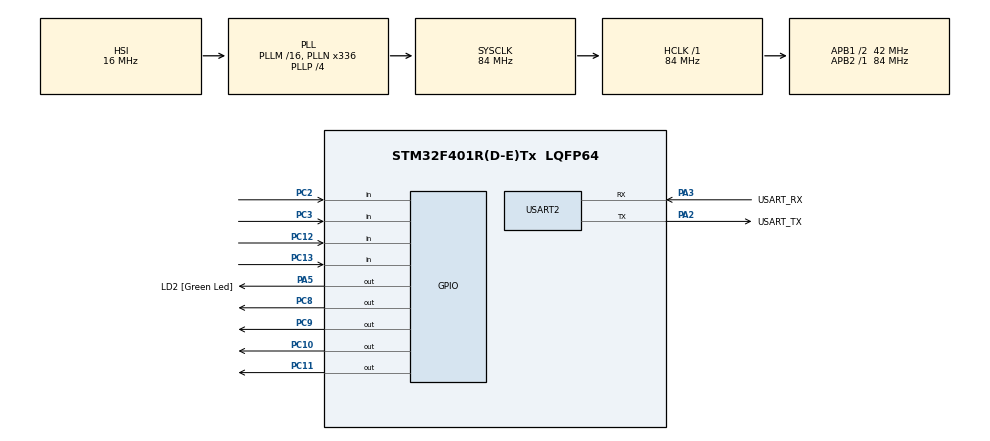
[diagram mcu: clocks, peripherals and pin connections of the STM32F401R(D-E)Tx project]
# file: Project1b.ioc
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Dma.Request0=USART2_TX
Dma.USART2_TX.0.Direction=DMA_MEMORY_TO_PERIPH
Dma.USART2_TX.0.FIFOMode=DMA_FIFOMODE_DISABLE
Dma.USART2_TX.0.Instance=DMA1_Stream6
Dma.USART2_TX.0.MemDataAlignment=DMA_MDATAALIGN_BYTE
Dma.USART2_TX.0.MemInc=DMA_MINC_ENABLE
Dma.USART2_TX.0.Mode=DMA_NORMAL
Dma.USART2_TX.0.PeriphDataAlignment=DMA_PDATAALIGN_BYTE
Dma.USART2_TX.0.PeriphInc=DMA_PINC_DISABLE
Dma.USART2_TX.0.Priority=DMA_PRIORITY_LOW
Mcu.Family=STM32F4
Mcu.Name=STM32F401R(D-E)Tx
Mcu.Package=LQFP64
NVIC.DMA1_Stream6_IRQn=true\:0\:0\:false\:false\:true\:false\:true\:true
NVIC.PriorityGroup=NVIC_PRIORITYGROUP_0
NVIC.TIM2_IRQn=true\:0\:0\:false\:false\:true\:true\:true\:true
NVIC.USART2_IRQn=true\:0\:0\:false\:false\:true\:true\:true\:true
PA13.GPIO_Label=TMS
PA13.Mode=Serial_Wire
PA13.Signal=SYS_JTMS-SWDIO
PA14.GPIO_Label=TCK
PA14.Mode=Serial_Wire
PA14.Signal=SYS_JTCK-SWCLK
PA2.GPIO_Label=USART_TX
PA2.GPIO_Mode=GPIO_MODE_AF_PP
PA2.GPIO_PuPd=GPIO_NOPULL
PA2.GPIO_Speed=GPIO_SPEED_FREQ_LOW
PA2.Mode=Asynchronous
PA2.Signal=USART2_TX
PA3.GPIO_Label=USART_RX
PA3.GPIO_Mode=GPIO_MODE_AF_PP
PA3.GPIO_PuPd=GPIO_NOPULL
PA3.GPIO_Speed=GPIO_SPEED_FREQ_LOW
PA3.Mode=Asynchronous
PA3.Signal=USART2_RX
PA5.GPIO_Label=LD2 [Green Led]
PA5.GPIO_Mode=GPIO_MODE_OUTPUT_PP
PA5.GPIO_PuPd=GPIO_NOPULL
PA5.GPIO_Speed=GPIO_SPEED_FREQ_LOW
PA5.Signal=GPIO_Output
PB3.GPIO_Label=SWO
PB3.Signal=SYS_JTDO-SWO
PC10.Signal=GPIO_Output
PC11.Signal=GPIO_Output
PC12.Signal=GPIO_Input
PC13-ANTI_TAMP.Signal=GPIO_Input
PC14-OSC32_IN.Mode=LSE-External-Oscillator
PC14-OSC32_IN.Signal=RCC_OSC32_IN
PC15-OSC32_OUT.Mode=LSE-External-Oscillator
PC15-OSC32_OUT.Signal=RCC_OSC32_OUT
PC2.Signal=GPIO_Input
PC3.Signal=GPIO_Input
PC8.Signal=GPIO_Output
PC9.Signal=GPIO_Output
PH0\ -\ OSC_IN.Mode=HSE-External-Clock-Source
PH0\ -\ OSC_IN.Signal=RCC_OSC_IN
PH1\ -\ OSC_OUT.Mode=HSE-External-Clock-Source
PH1\ -\ OSC_OUT.Signal=RCC_OSC_OUT
ProjectManager.HeapSize=0x200
ProjectManager.StackSize=0x400
ProjectManager.TargetToolchain=STM32CubeIDE
RCC.48MHZClocksFreq_Value=48000000
RCC.AHBFreq_Value=84000000
RCC.APB1CLKDivider=RCC_HCLK_DIV2
RCC.APB1Freq_Value=42000000
RCC.APB1TimFreq_Value=84000000
RCC.APB2Freq_Value=84000000
RCC.APB2TimFreq_Value=84000000
RCC.CortexFreq_Value=84000000
RCC.HCLKFreq_Value=84000000
RCC.HSE_VALUE=8000000
RCC.HSI_VALUE=16000000
RCC.PLLN=336
RCC.PLLP=RCC_PLLP_DIV4
RCC.PLLQ=7
RCC.SYSCLKFreq_VALUE=84000000
RCC.SYSCLKSource=RCC_SYSCLKSOURCE_PLLCLK
RCC.VCOOutputFreq_Value=336000000
TIM2.Period=99
TIM2.Prescaler=8399
USART2.VirtualMode=VM_ASYNC
VP_TIM2_VS_ClockSourceINT.Mode=Internal
board=NUCLEO-F401RE

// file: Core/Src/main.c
/* USER CODE BEGIN Header */
/**
  ******************************************************************************
  * @file           : main.c
  * @brief          : Main program body
  ******************************************************************************
  * @attention
  *
  * Copyright (c) 2023 STMicroelectronics.
  * All rights reserved.
  *
  * This software is licensed under terms that can be found in the LICENSE file
  * in the root directory of this software component.
  * If no LICENSE file comes with this software, it is provided AS-IS.
  *
  ******************************************************************************
  */
/* USER CODE END Header */
#include "main.h"

/* USER CODE BEGIN Includes */
#include <stdio.h>
/* USER CODE END Includes */

/* USER CODE BEGIN PD */
#define PIN_C0 GPIOC,GPIO_PIN_11
#define PIN_C1 GPIOC,GPIO_PIN_10
#define PIN_C2 GPIOC,GPIO_PIN_9
#define PIN_C3 GPIOC,GPIO_PIN_8

#define PIN_R0 GPIOC,GPIO_PIN_3
#define PIN_R1 GPIOC,GPIO_PIN_2
#define PIN_R2 GPIOC,GPIO_PIN_13
#define PIN_R3 GPIOC,GPIO_PIN_12

/* USER CODE END PD */

TIM_HandleTypeDef htim2;

UART_HandleTypeDef huart2;
DMA_HandleTypeDef hdma_usart2_tx;

/* USER CODE BEGIN PV */
char map[16] = "FB73EA62D951C840";
uint32_t keypress[16];
uint32_t ack[16];
int column_index = 0;
uint32_t debounce_time[16];
/* USER CODE END PV */

void SystemClock_Config(void);
static void MX_GPIO_Init(void);
static void MX_DMA_Init(void);
static void MX_USART2_UART_Init(void);
static void MX_TIM2_Init(void);

/* USER CODE BEGIN 0 */
void HAL_TIM_PeriodElapsedCallback(TIM_HandleTypeDef *htim) {
	  if(HAL_GPIO_ReadPin(PIN_R0)==GPIO_PIN_SET){
		  keypress[4*column_index]=0;
	  }else{
		  keypress[4*column_index]=1;
	  }

	  if(HAL_GPIO_ReadPin(PIN_R1)==GPIO_PIN_SET){
		  keypress[4*column_index+1]=0;
	  }else{
		  keypress[4*column_index+1]=1;
	  }

	  if(HAL_GPIO_ReadPin(PIN_R2)==GPIO_PIN_SET){
		  keypress[4*column_index+2]=0;
	  }else{
		  keypress[4*column_index+2]=1;
	  }

	  if(HAL_GPIO_ReadPin(PIN_R3)==GPIO_PIN_SET){
		  keypress[4*column_index+3]=0;
	  }else{
		  keypress[4*column_index+3]=1;
	  }
	  for(int i=0;i<4;i++){
		  if(keypress[4*column_index+i] == 1){
			  if(ack[4*column_index+i] == 0){
				  if(debounce_time[4*column_index+i] == 0){
				  HAL_UART_Transmit_DMA(&huart2,(uint8_t *)&map[4*column_index+i],1);
				  ack[4*column_index+i] = 1;
				  debounce_time[4*column_index+i] = 1;
				  }
				  else{
					  debounce_time[4*column_index+i] = 0;
				  }
			  }
		  }else{
			  ack[4*column_index+i] = 0;
		  }
	  }

	  column_index++;
	  if(column_index==4){
		  column_index=0;
	  }
	  HAL_GPIO_WritePin(PIN_C0,(column_index==0)?GPIO_PIN_SET:GPIO_PIN_RESET);
	  HAL_GPIO_WritePin(PIN_C1,(column_index==1)?GPIO_PIN_SET:GPIO_PIN_RESET);
	  HAL_GPIO_WritePin(PIN_C2,(column_index==2)?GPIO_PIN_SET:GPIO_PIN_RESET);
	  HAL_GPIO_WritePin(PIN_C3,(column_index==3)?GPIO_PIN_SET:GPIO_PIN_RESET);

}
/* USER CODE END 0 */

int main(void)
{

  /* MCU Configuration--------------------------------------------------------*/

  /* Reset of all peripherals, Initializes the Flash interface and the Systick. */
  HAL_Init();

  /* Configure the system clock */
  SystemClock_Config();

  /* Initialize all configured peripherals */
  MX_GPIO_Init();
  MX_DMA_Init();
  MX_USART2_UART_Init();
  MX_TIM2_Init();
  /* USER CODE BEGIN 2 */
  for(int i=0;i<16;i++){
	  keypress[i] = 0;
	  ack[i] = 0;
	  debounce_time[i] = 1;
  }
  HAL_GPIO_WritePin(PIN_C0,(column_index==0)?GPIO_PIN_SET:GPIO_PIN_RESET);
  HAL_GPIO_WritePin(PIN_C1,(column_index==1)?GPIO_PIN_SET:GPIO_PIN_RESET);
  HAL_GPIO_WritePin(PIN_C2,(column_index==2)?GPIO_PIN_SET:GPIO_PIN_RESET);
  HAL_GPIO_WritePin(PIN_C3,(column_index==3)?GPIO_PIN_SET:GPIO_PIN_RESET);
  if(HAL_TIM_Base_Start_IT(&htim2) != HAL_OK){
  	  Error_Handler();
  }
  /* USER CODE END 2 */

  /* Infinite loop */
  while (1)
  {

  }
}

void SystemClock_Config(void)
{
  RCC_OscInitTypeDef RCC_OscInitStruct = {0};
  RCC_ClkInitTypeDef RCC_ClkInitStruct = {0};

  /** Configure the main internal regulator output voltage
  */
  __HAL_RCC_PWR_CLK_ENABLE();
  __HAL_PWR_VOLTAGESCALING_CONFIG(PWR_REGULATOR_VOLTAGE_SCALE2);

  /** Initializes the RCC Oscillators according to the specified parameters
  * in the RCC_OscInitTypeDef structure.
  */
  RCC_OscInitStruct.OscillatorType = RCC_OSCILLATORTYPE_HSI;
  RCC_OscInitStruct.HSIState = RCC_HSI_ON;
  RCC_OscInitStruct.HSICalibrationValue = RCC_HSICALIBRATION_DEFAULT;
  RCC_OscInitStruct.PLL.PLLState = RCC_PLL_ON;
  RCC_OscInitStruct.PLL.PLLSource = RCC_PLLSOURCE_HSI;
  RCC_OscInitStruct.PLL.PLLM = 16;
  RCC_OscInitStruct.PLL.PLLN = 336;
  RCC_OscInitStruct.PLL.PLLP = RCC_PLLP_DIV4;
  RCC_OscInitStruct.PLL.PLLQ = 7;
  if (HAL_RCC_OscConfig(&RCC_OscInitStruct) != HAL_OK)
  {
    Error_Handler();
  }

  /** Initializes the CPU, AHB and APB buses clocks
  */
  RCC_ClkInitStruct.ClockType = RCC_CLOCKTYPE_HCLK|RCC_CLOCKTYPE_SYSCLK
                              |RCC_CLOCKTYPE_PCLK1|RCC_CLOCKTYPE_PCLK2;
  RCC_ClkInitStruct.SYSCLKSource = RCC_SYSCLKSOURCE_PLLCLK;
  RCC_ClkInitStruct.AHBCLKDivider = RCC_SYSCLK_DIV1;
  RCC_ClkInitStruct.APB1CLKDivider = RCC_HCLK_DIV2;
  RCC_ClkInitStruct.APB2CLKDivider = RCC_HCLK_DIV1;

  if (HAL_RCC_ClockConfig(&RCC_ClkInitStruct, FLASH_LATENCY_2) != HAL_OK)
  {
    Error_Handler();
  }
}

static void MX_TIM2_Init(void)
{

  TIM_ClockConfigTypeDef sClockSourceConfig = {0};
  TIM_MasterConfigTypeDef sMasterConfig = {0};

  htim2.Instance = TIM2;
  htim2.Init.Prescaler = 8399;
  htim2.Init.CounterMode = TIM_COUNTERMODE_UP;
  htim2.Init.Period = 99;
  htim2.Init.ClockDivision = TIM_CLOCKDIVISION_DIV1;
  htim2.Init.AutoReloadPreload = TIM_AUTORELOAD_PRELOAD_DISABLE;
  if (HAL_TIM_Base_Init(&htim2) != HAL_OK)
  {
    Error_Handler();
  }
  sClockSourceConfig.ClockSource = TIM_CLOCKSOURCE_INTERNAL;
  if (HAL_TIM_ConfigClockSource(&htim2, &sClockSourceConfig) != HAL_OK)
  {
    Error_Handler();
  }
  sMasterConfig.MasterOutputTrigger = TIM_TRGO_RESET;
  sMasterConfig.MasterSlaveMode = TIM_MASTERSLAVEMODE_DISABLE;
  if (HAL_TIMEx_MasterConfigSynchronization(&htim2, &sMasterConfig) != HAL_OK)
  {
    Error_Handler();
  }

}

static void MX_USART2_UART_Init(void)
{

  huart2.Instance = USART2;
  huart2.Init.BaudRate = 115200;
  huart2.Init.WordLength = UART_WORDLENGTH_8B;
  huart2.Init.StopBits = UART_STOPBITS_1;
  huart2.Init.Parity = UART_PARITY_NONE;
  huart2.Init.Mode = UART_MODE_TX_RX;
  huart2.Init.HwFlowCtl = UART_HWCONTROL_NONE;
  huart2.Init.OverSampling = UART_OVERSAMPLING_16;
  if (HAL_UART_Init(&huart2) != HAL_OK)
  {
    Error_Handler();
  }

}

static void MX_DMA_Init(void)
{

  /* DMA controller clock enable */
  __HAL_RCC_DMA1_CLK_ENABLE();

  /* DMA interrupt init */
  /* DMA1_Stream6_IRQn interrupt configuration */
  HAL_NVIC_SetPriority(DMA1_Stream6_IRQn, 0, 0);
  HAL_NVIC_EnableIRQ(DMA1_Stream6_IRQn);

}

static void MX_GPIO_Init(void)
{
  GPIO_InitTypeDef GPIO_InitStruct = {0};

  /* GPIO Ports Clock Enable */
  __HAL_RCC_GPIOC_CLK_ENABLE();
  __HAL_RCC_GPIOH_CLK_ENABLE();
  __HAL_RCC_GPIOA_CLK_ENABLE();
  __HAL_RCC_GPIOB_CLK_ENABLE();

  /*Configure GPIO pin Output Level */
  HAL_GPIO_WritePin(LD2_GPIO_Port, LD2_Pin, GPIO_PIN_RESET);

  /*Configure GPIO pin Output Level */
  HAL_GPIO_WritePin(GPIOC, GPIO_PIN_8|GPIO_PIN_9|GPIO_PIN_10|GPIO_PIN_11, GPIO_PIN_RESET);

  /*Configure GPIO pins : PC13 PC2 PC3 PC12 */
  GPIO_InitStruct.Pin = GPIO_PIN_13|GPIO_PIN_2|GPIO_PIN_3|GPIO_PIN_12;
  GPIO_InitStruct.Mode = GPIO_MODE_INPUT;
  GPIO_InitStruct.Pull = GPIO_NOPULL;
  HAL_GPIO_Init(GPIOC, &GPIO_InitStruct);

  /*Configure GPIO pin : LD2_Pin */
  GPIO_InitStruct.Pin = LD2_Pin;
  GPIO_InitStruct.Mode = GPIO_MODE_OUTPUT_PP;
  GPIO_InitStruct.Pull = GPIO_NOPULL;
  GPIO_InitStruct.Speed = GPIO_SPEED_FREQ_LOW;
  HAL_GPIO_Init(LD2_GPIO_Port, &GPIO_InitStruct);

  /*Configure GPIO pins : PC8 PC9 PC10 PC11 */
  GPIO_InitStruct.Pin = GPIO_PIN_8|GPIO_PIN_9|GPIO_PIN_10|GPIO_PIN_11;
  GPIO_InitStruct.Mode = GPIO_MODE_OUTPUT_PP;
  GPIO_InitStruct.Pull = GPIO_NOPULL;
  GPIO_InitStruct.Speed = GPIO_SPEED_FREQ_LOW;
  HAL_GPIO_Init(GPIOC, &GPIO_InitStruct);

}

void Error_Handler(void)
{
  __disable_irq();
  while (1)
  {
  }
}
